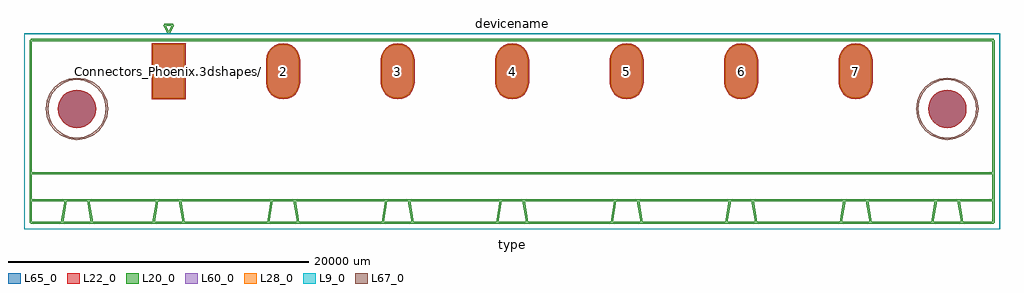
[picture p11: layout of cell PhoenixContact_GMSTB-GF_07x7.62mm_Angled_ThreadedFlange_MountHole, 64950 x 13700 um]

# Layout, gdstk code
import gdstk
lib = gdstk.Library(unit=1e-6, precision=1e-09)
def R(c, l, rs):  # rectangles x0, y0, x1, y1
    for r in rs: c.add(gdstk.rectangle(r[:2], r[2:], *l))
def P(c, l, *ps):  # polygons
    for p in ps: c.add(gdstk.Polygon(p, *l))
L9_0 = (9, 0)
L20_0 = (20, 0)
L22_0 = (22, 0)
L28_0 = (28, 0)
L60_0 = (60, 0)
L65_0 = (65, 0)
L67_0 = (67, 0)

phoenixcontact_gmstb_gf_ = lib.new_cell('PhoenixContact_GMSTB-GF_07x7.62mm_Angled_ThreadedFlange_MountHole')
R(phoenixcontact_gmstb_gf_, L22_0, [(-1125,-1875,1125,1875)])
P(phoenixcontact_gmstb_gf_, L22_0, [(53095,-2500),(53070.501,-2251.26),(52997.946,-2012.079),(52880.124,-1791.648),(52721.561,-1598.439),(52528.352,-1439.876),(52307.921,-1322.054),(52068.74,-1249.499),(51820,-1225),(51571.26,-1249.499),(51332.079,-1322.054),(51111.648,-1439.876),(50918.439,-1598.439),(50759.876,-1791.648),(50642.054,-2012.079),(50569.499,-2251.26),(50545,-2500),(50569.499,-2748.74),(50642.054,-2987.921),(50759.876,-3208.352),(50918.439,-3401.561),(51111.648,-3560.124),(51332.079,-3677.946),(51571.26,-3750.501),(51820,-3775),(52068.74,-3750.501),(52307.921,-3677.946),(52528.352,-3560.124),(52721.561,-3401.561),(52880.124,-3208.352),(52997.946,-2987.921),(53070.501,-2748.74)],
  [(-4825,-2500),(-4849.499,-2251.26),(-4922.054,-2012.079),(-5039.876,-1791.648),(-5198.439,-1598.439),(-5391.648,-1439.876),(-5612.079,-1322.054),(-5851.26,-1249.499),(-6100,-1225),(-6348.74,-1249.499),(-6587.921,-1322.054),(-6808.352,-1439.876),(-7001.561,-1598.439),(-7160.124,-1791.648),(-7277.946,-2012.079),(-7350.501,-2251.26),(-7375,-2500),(-7350.501,-2748.74),(-7277.946,-2987.921),(-7160.124,-3208.352),(-7001.561,-3401.561),(-6808.352,-3560.124),(-6587.921,-3677.946),(-6348.74,-3750.501),(-6100,-3775),(-5851.26,-3750.501),(-5612.079,-3677.946),(-5391.648,-3560.124),(-5198.439,-3401.561),(-5039.876,-3208.352),(-4922.054,-2987.921),(-4849.499,-2748.74)],
  [(45720,-1875),(46011.171,-1836.667),(46282.5,-1724.279),(46515.495,-1545.495),(46694.279,-1312.5),(46806.667,-1041.171),(46845,-750),(46845,750),(46806.667,1041.171),(46694.279,1312.5),(46515.495,1545.495),(46282.5,1724.279),(46011.171,1836.667),(45720,1875),(45428.829,1836.667),(45157.5,1724.279),(44924.505,1545.495),(44745.721,1312.5),(44633.333,1041.171),(44595,750),(44595,-750),(44633.333,-1041.171),(44745.721,-1312.5),(44924.505,-1545.495),(45157.5,-1724.279),(45428.829,-1836.667)],
  [(38100,-1875),(38391.171,-1836.667),(38662.5,-1724.279),(38895.495,-1545.495),(39074.279,-1312.5),(39186.667,-1041.171),(39225,-750),(39225,750),(39186.667,1041.171),(39074.279,1312.5),(38895.495,1545.495),(38662.5,1724.279),(38391.171,1836.667),(38100,1875),(37808.829,1836.667),(37537.5,1724.279),(37304.505,1545.495),(37125.721,1312.5),(37013.333,1041.171),(36975,750),(36975,-750),(37013.333,-1041.171),(37125.721,-1312.5),(37304.505,-1545.495),(37537.5,-1724.279),(37808.829,-1836.667)],
  [(30480,-1875),(30771.171,-1836.667),(31042.5,-1724.279),(31275.495,-1545.495),(31454.279,-1312.5),(31566.667,-1041.171),(31605,-750),(31605,750),(31566.667,1041.171),(31454.279,1312.5),(31275.495,1545.495),(31042.5,1724.279),(30771.171,1836.667),(30480,1875),(30188.829,1836.667),(29917.5,1724.279),(29684.505,1545.495),(29505.721,1312.5),(29393.333,1041.171),(29355,750),(29355,-750),(29393.333,-1041.171),(29505.721,-1312.5),(29684.505,-1545.495),(29917.5,-1724.279),(30188.829,-1836.667)],
  [(22860,-1875),(23151.171,-1836.667),(23422.5,-1724.279),(23655.495,-1545.495),(23834.279,-1312.5),(23946.667,-1041.171),(23985,-750),(23985,750),(23946.667,1041.171),(23834.279,1312.5),(23655.495,1545.495),(23422.5,1724.279),(23151.171,1836.667),(22860,1875),(22568.829,1836.667),(22297.5,1724.279),(22064.505,1545.495),(21885.721,1312.5),(21773.333,1041.171),(21735,750),(21735,-750),(21773.333,-1041.171),(21885.721,-1312.5),(22064.505,-1545.495),(22297.5,-1724.279),(22568.829,-1836.667)],
  [(15240,-1875),(15531.171,-1836.667),(15802.5,-1724.279),(16035.495,-1545.495),(16214.279,-1312.5),(16326.667,-1041.171),(16365,-750),(16365,750),(16326.667,1041.171),(16214.279,1312.5),(16035.495,1545.495),(15802.5,1724.279),(15531.171,1836.667),(15240,1875),(14948.829,1836.667),(14677.5,1724.279),(14444.505,1545.495),(14265.721,1312.5),(14153.333,1041.171),(14115,750),(14115,-750),(14153.333,-1041.171),(14265.721,-1312.5),(14444.505,-1545.495),(14677.5,-1724.279),(14948.829,-1836.667)],
  [(7620,-1875),(7911.171,-1836.667),(8182.5,-1724.279),(8415.495,-1545.495),(8594.279,-1312.5),(8706.667,-1041.171),(8745,-750),(8745,750),(8706.667,1041.171),(8594.279,1312.5),(8415.495,1545.495),(8182.5,1724.279),(7911.171,1836.667),(7620,1875),(7328.829,1836.667),(7057.5,1724.279),(6824.505,1545.495),(6645.721,1312.5),(6533.333,1041.171),(6495,750),(6495,-750),(6533.333,-1041.171),(6645.721,-1312.5),(6824.505,-1545.495),(7057.5,-1724.279),(7328.829,-1836.667)])
R(phoenixcontact_gmstb_gf_, L28_0, [(-1050,-1800,1050,1800)])
P(phoenixcontact_gmstb_gf_, L28_0, [(45720,-1800),(45991.76,-1764.222),(46245,-1659.327),(46462.462,-1492.462),(46629.327,-1275),(46734.222,-1021.76),(46770,-750),(46770,750),(46734.222,1021.76),(46629.327,1275),(46462.462,1492.462),(46245,1659.327),(45991.76,1764.222),(45720,1800),(45448.24,1764.222),(45195,1659.327),(44977.538,1492.462),(44810.673,1275),(44705.778,1021.76),(44670,750),(44670,-750),(44705.778,-1021.76),(44810.673,-1275),(44977.538,-1492.462),(45195,-1659.327),(45448.24,-1764.222)],
  [(38100,-1800),(38371.76,-1764.222),(38625,-1659.327),(38842.462,-1492.462),(39009.327,-1275),(39114.222,-1021.76),(39150,-750),(39150,750),(39114.222,1021.76),(39009.327,1275),(38842.462,1492.462),(38625,1659.327),(38371.76,1764.222),(38100,1800),(37828.24,1764.222),(37575,1659.327),(37357.538,1492.462),(37190.673,1275),(37085.778,1021.76),(37050,750),(37050,-750),(37085.778,-1021.76),(37190.673,-1275),(37357.538,-1492.462),(37575,-1659.327),(37828.24,-1764.222)],
  [(30480,-1800),(30751.76,-1764.222),(31005,-1659.327),(31222.462,-1492.462),(31389.327,-1275),(31494.222,-1021.76),(31530,-750),(31530,750),(31494.222,1021.76),(31389.327,1275),(31222.462,1492.462),(31005,1659.327),(30751.76,1764.222),(30480,1800),(30208.24,1764.222),(29955,1659.327),(29737.538,1492.462),(29570.673,1275),(29465.778,1021.76),(29430,750),(29430,-750),(29465.778,-1021.76),(29570.673,-1275),(29737.538,-1492.462),(29955,-1659.327),(30208.24,-1764.222)],
  [(22860,-1800),(23131.76,-1764.222),(23385,-1659.327),(23602.462,-1492.462),(23769.327,-1275),(23874.222,-1021.76),(23910,-750),(23910,750),(23874.222,1021.76),(23769.327,1275),(23602.462,1492.462),(23385,1659.327),(23131.76,1764.222),(22860,1800),(22588.24,1764.222),(22335,1659.327),(22117.538,1492.462),(21950.673,1275),(21845.778,1021.76),(21810,750),(21810,-750),(21845.778,-1021.76),(21950.673,-1275),(22117.538,-1492.462),(22335,-1659.327),(22588.24,-1764.222)],
  [(15240,-1800),(15511.76,-1764.222),(15765,-1659.327),(15982.462,-1492.462),(16149.327,-1275),(16254.222,-1021.76),(16290,-750),(16290,750),(16254.222,1021.76),(16149.327,1275),(15982.462,1492.462),(15765,1659.327),(15511.76,1764.222),(15240,1800),(14968.24,1764.222),(14715,1659.327),(14497.538,1492.462),(14330.673,1275),(14225.778,1021.76),(14190,750),(14190,-750),(14225.778,-1021.76),(14330.673,-1275),(14497.538,-1492.462),(14715,-1659.327),(14968.24,-1764.222)],
  [(7620,-1800),(7891.76,-1764.222),(8145,-1659.327),(8362.462,-1492.462),(8529.327,-1275),(8634.222,-1021.76),(8670,-750),(8670,750),(8634.222,1021.76),(8529.327,1275),(8362.462,1492.462),(8145,1659.327),(7891.76,1764.222),(7620,1800),(7348.24,1764.222),(7095,1659.327),(6877.538,1492.462),(6710.673,1275),(6605.778,1021.76),(6570,750),(6570,-750),(6605.778,-1021.76),(6710.673,-1275),(6877.538,-1492.462),(7095,-1659.327),(7348.24,-1764.222)])
R(phoenixcontact_gmstb_gf_, L60_0, [(-1050,-1800,1050,1800)])
P(phoenixcontact_gmstb_gf_, L60_0, [(45720,-1800),(45991.76,-1764.222),(46245,-1659.327),(46462.462,-1492.462),(46629.327,-1275),(46734.222,-1021.76),(46770,-750),(46770,750),(46734.222,1021.76),(46629.327,1275),(46462.462,1492.462),(46245,1659.327),(45991.76,1764.222),(45720,1800),(45448.24,1764.222),(45195,1659.327),(44977.538,1492.462),(44810.673,1275),(44705.778,1021.76),(44670,750),(44670,-750),(44705.778,-1021.76),(44810.673,-1275),(44977.538,-1492.462),(45195,-1659.327),(45448.24,-1764.222)],
  [(38100,-1800),(38371.76,-1764.222),(38625,-1659.327),(38842.462,-1492.462),(39009.327,-1275),(39114.222,-1021.76),(39150,-750),(39150,750),(39114.222,1021.76),(39009.327,1275),(38842.462,1492.462),(38625,1659.327),(38371.76,1764.222),(38100,1800),(37828.24,1764.222),(37575,1659.327),(37357.538,1492.462),(37190.673,1275),(37085.778,1021.76),(37050,750),(37050,-750),(37085.778,-1021.76),(37190.673,-1275),(37357.538,-1492.462),(37575,-1659.327),(37828.24,-1764.222)],
  [(30480,-1800),(30751.76,-1764.222),(31005,-1659.327),(31222.462,-1492.462),(31389.327,-1275),(31494.222,-1021.76),(31530,-750),(31530,750),(31494.222,1021.76),(31389.327,1275),(31222.462,1492.462),(31005,1659.327),(30751.76,1764.222),(30480,1800),(30208.24,1764.222),(29955,1659.327),(29737.538,1492.462),(29570.673,1275),(29465.778,1021.76),(29430,750),(29430,-750),(29465.778,-1021.76),(29570.673,-1275),(29737.538,-1492.462),(29955,-1659.327),(30208.24,-1764.222)],
  [(22860,-1800),(23131.76,-1764.222),(23385,-1659.327),(23602.462,-1492.462),(23769.327,-1275),(23874.222,-1021.76),(23910,-750),(23910,750),(23874.222,1021.76),(23769.327,1275),(23602.462,1492.462),(23385,1659.327),(23131.76,1764.222),(22860,1800),(22588.24,1764.222),(22335,1659.327),(22117.538,1492.462),(21950.673,1275),(21845.778,1021.76),(21810,750),(21810,-750),(21845.778,-1021.76),(21950.673,-1275),(22117.538,-1492.462),(22335,-1659.327),(22588.24,-1764.222)],
  [(15240,-1800),(15511.76,-1764.222),(15765,-1659.327),(15982.462,-1492.462),(16149.327,-1275),(16254.222,-1021.76),(16290,-750),(16290,750),(16254.222,1021.76),(16149.327,1275),(15982.462,1492.462),(15765,1659.327),(15511.76,1764.222),(15240,1800),(14968.24,1764.222),(14715,1659.327),(14497.538,1492.462),(14330.673,1275),(14225.778,1021.76),(14190,750),(14190,-750),(14225.778,-1021.76),(14330.673,-1275),(14497.538,-1492.462),(14715,-1659.327),(14968.24,-1764.222)],
  [(7620,-1800),(7891.76,-1764.222),(8145,-1659.327),(8362.462,-1492.462),(8529.327,-1275),(8634.222,-1021.76),(8670,-750),(8670,750),(8634.222,1021.76),(8529.327,1275),(8362.462,1492.462),(8145,1659.327),(7891.76,1764.222),(7620,1800),(7348.24,1764.222),(7095,1659.327),(6877.538,1492.462),(6710.673,1275),(6605.778,1021.76),(6570,750),(6570,-750),(6605.778,-1021.76),(6710.673,-1275),(6877.538,-1492.462),(7095,-1659.327),(7348.24,-1764.222)])
R(phoenixcontact_gmstb_gf_, L65_0, [(-1125,-1875,1125,1875)])
P(phoenixcontact_gmstb_gf_, L65_0, [(53095,-2500),(53070.501,-2251.26),(52997.946,-2012.079),(52880.124,-1791.648),(52721.561,-1598.439),(52528.352,-1439.876),(52307.921,-1322.054),(52068.74,-1249.499),(51820,-1225),(51571.26,-1249.499),(51332.079,-1322.054),(51111.648,-1439.876),(50918.439,-1598.439),(50759.876,-1791.648),(50642.054,-2012.079),(50569.499,-2251.26),(50545,-2500),(50569.499,-2748.74),(50642.054,-2987.921),(50759.876,-3208.352),(50918.439,-3401.561),(51111.648,-3560.124),(51332.079,-3677.946),(51571.26,-3750.501),(51820,-3775),(52068.74,-3750.501),(52307.921,-3677.946),(52528.352,-3560.124),(52721.561,-3401.561),(52880.124,-3208.352),(52997.946,-2987.921),(53070.501,-2748.74)],
  [(-4825,-2500),(-4849.499,-2251.26),(-4922.054,-2012.079),(-5039.876,-1791.648),(-5198.439,-1598.439),(-5391.648,-1439.876),(-5612.079,-1322.054),(-5851.26,-1249.499),(-6100,-1225),(-6348.74,-1249.499),(-6587.921,-1322.054),(-6808.352,-1439.876),(-7001.561,-1598.439),(-7160.124,-1791.648),(-7277.946,-2012.079),(-7350.501,-2251.26),(-7375,-2500),(-7350.501,-2748.74),(-7277.946,-2987.921),(-7160.124,-3208.352),(-7001.561,-3401.561),(-6808.352,-3560.124),(-6587.921,-3677.946),(-6348.74,-3750.501),(-6100,-3775),(-5851.26,-3750.501),(-5612.079,-3677.946),(-5391.648,-3560.124),(-5198.439,-3401.561),(-5039.876,-3208.352),(-4922.054,-2987.921),(-4849.499,-2748.74)],
  [(45720,-1875),(46011.171,-1836.667),(46282.5,-1724.279),(46515.495,-1545.495),(46694.279,-1312.5),(46806.667,-1041.171),(46845,-750),(46845,750),(46806.667,1041.171),(46694.279,1312.5),(46515.495,1545.495),(46282.5,1724.279),(46011.171,1836.667),(45720,1875),(45428.829,1836.667),(45157.5,1724.279),(44924.505,1545.495),(44745.721,1312.5),(44633.333,1041.171),(44595,750),(44595,-750),(44633.333,-1041.171),(44745.721,-1312.5),(44924.505,-1545.495),(45157.5,-1724.279),(45428.829,-1836.667)],
  [(38100,-1875),(38391.171,-1836.667),(38662.5,-1724.279),(38895.495,-1545.495),(39074.279,-1312.5),(39186.667,-1041.171),(39225,-750),(39225,750),(39186.667,1041.171),(39074.279,1312.5),(38895.495,1545.495),(38662.5,1724.279),(38391.171,1836.667),(38100,1875),(37808.829,1836.667),(37537.5,1724.279),(37304.505,1545.495),(37125.721,1312.5),(37013.333,1041.171),(36975,750),(36975,-750),(37013.333,-1041.171),(37125.721,-1312.5),(37304.505,-1545.495),(37537.5,-1724.279),(37808.829,-1836.667)],
  [(30480,-1875),(30771.171,-1836.667),(31042.5,-1724.279),(31275.495,-1545.495),(31454.279,-1312.5),(31566.667,-1041.171),(31605,-750),(31605,750),(31566.667,1041.171),(31454.279,1312.5),(31275.495,1545.495),(31042.5,1724.279),(30771.171,1836.667),(30480,1875),(30188.829,1836.667),(29917.5,1724.279),(29684.505,1545.495),(29505.721,1312.5),(29393.333,1041.171),(29355,750),(29355,-750),(29393.333,-1041.171),(29505.721,-1312.5),(29684.505,-1545.495),(29917.5,-1724.279),(30188.829,-1836.667)],
  [(22860,-1875),(23151.171,-1836.667),(23422.5,-1724.279),(23655.495,-1545.495),(23834.279,-1312.5),(23946.667,-1041.171),(23985,-750),(23985,750),(23946.667,1041.171),(23834.279,1312.5),(23655.495,1545.495),(23422.5,1724.279),(23151.171,1836.667),(22860,1875),(22568.829,1836.667),(22297.5,1724.279),(22064.505,1545.495),(21885.721,1312.5),(21773.333,1041.171),(21735,750),(21735,-750),(21773.333,-1041.171),(21885.721,-1312.5),(22064.505,-1545.495),(22297.5,-1724.279),(22568.829,-1836.667)],
  [(15240,-1875),(15531.171,-1836.667),(15802.5,-1724.279),(16035.495,-1545.495),(16214.279,-1312.5),(16326.667,-1041.171),(16365,-750),(16365,750),(16326.667,1041.171),(16214.279,1312.5),(16035.495,1545.495),(15802.5,1724.279),(15531.171,1836.667),(15240,1875),(14948.829,1836.667),(14677.5,1724.279),(14444.505,1545.495),(14265.721,1312.5),(14153.333,1041.171),(14115,750),(14115,-750),(14153.333,-1041.171),(14265.721,-1312.5),(14444.505,-1545.495),(14677.5,-1724.279),(14948.829,-1836.667)],
  [(7620,-1875),(7911.171,-1836.667),(8182.5,-1724.279),(8415.495,-1545.495),(8594.279,-1312.5),(8706.667,-1041.171),(8745,-750),(8745,750),(8706.667,1041.171),(8594.279,1312.5),(8415.495,1545.495),(8182.5,1724.279),(7911.171,1836.667),(7620,1875),(7328.829,1836.667),(7057.5,1724.279),(6824.505,1545.495),(6645.721,1312.5),(6533.333,1041.171),(6495,750),(6495,-750),(6533.333,-1041.171),(6645.721,-1312.5),(6824.505,-1545.495),(7057.5,-1724.279),(7328.829,-1836.667)])
phoenixcontact_gmstb_gf_.add(gdstk.FlexPath([(-300,3100),(0,2500)], 149.998, ends="flush", simple_path=True, layer=20, datatype=0))  # L20_0
phoenixcontact_gmstb_gf_.add(gdstk.FlexPath([(300,3100),(-300,3100)], 149.998, ends="flush", simple_path=True, layer=20, datatype=0))  # L20_0
phoenixcontact_gmstb_gf_.add(gdstk.FlexPath([(0,2500),(300,3100)], 149.998, ends="flush", simple_path=True, layer=20, datatype=0))  # L20_0
phoenixcontact_gmstb_gf_.add(gdstk.FlexPath([(55300,2500),(-9600,2500)], 50, ends="flush", simple_path=True, layer=9, datatype=0))  # L9_0
phoenixcontact_gmstb_gf_.add(gdstk.FlexPath([(55300,-10500),(55300,2500)], 50, ends="flush", simple_path=True, layer=9, datatype=0))  # L9_0
phoenixcontact_gmstb_gf_.add(gdstk.FlexPath([(-9600,-10500),(55300,-10500)], 50, ends="flush", simple_path=True, layer=9, datatype=0))  # L9_0
phoenixcontact_gmstb_gf_.add(gdstk.FlexPath([(-9600,2500),(-9600,-10500)], 50, ends="flush", simple_path=True, layer=9, datatype=0))  # L9_0
phoenixcontact_gmstb_gf_.add(gdstk.FlexPath([(44970,-8580),(44720,-10080)], 149.998, ends="flush", simple_path=True, layer=20, datatype=0))  # L20_0
phoenixcontact_gmstb_gf_.add(gdstk.FlexPath([(46470,-8580),(44970,-8580)], 149.998, ends="flush", simple_path=True, layer=20, datatype=0))  # L20_0
phoenixcontact_gmstb_gf_.add(gdstk.FlexPath([(46720,-10080),(46470,-8580)], 149.998, ends="flush", simple_path=True, layer=20, datatype=0))  # L20_0
phoenixcontact_gmstb_gf_.add(gdstk.FlexPath([(44720,-10080),(46720,-10080)], 149.998, ends="flush", simple_path=True, layer=20, datatype=0))  # L20_0
phoenixcontact_gmstb_gf_.add(gdstk.FlexPath([(37350,-8580),(37100,-10080)], 149.998, ends="flush", simple_path=True, layer=20, datatype=0))  # L20_0
phoenixcontact_gmstb_gf_.add(gdstk.FlexPath([(38850,-8580),(37350,-8580)], 149.998, ends="flush", simple_path=True, layer=20, datatype=0))  # L20_0
phoenixcontact_gmstb_gf_.add(gdstk.FlexPath([(39100,-10080),(38850,-8580)], 149.998, ends="flush", simple_path=True, layer=20, datatype=0))  # L20_0
phoenixcontact_gmstb_gf_.add(gdstk.FlexPath([(37100,-10080),(39100,-10080)], 149.998, ends="flush", simple_path=True, layer=20, datatype=0))  # L20_0
phoenixcontact_gmstb_gf_.add(gdstk.FlexPath([(29730,-8580),(29480,-10080)], 149.998, ends="flush", simple_path=True, layer=20, datatype=0))  # L20_0
phoenixcontact_gmstb_gf_.add(gdstk.FlexPath([(31230,-8580),(29730,-8580)], 149.998, ends="flush", simple_path=True, layer=20, datatype=0))  # L20_0
phoenixcontact_gmstb_gf_.add(gdstk.FlexPath([(31480,-10080),(31230,-8580)], 149.998, ends="flush", simple_path=True, layer=20, datatype=0))  # L20_0
phoenixcontact_gmstb_gf_.add(gdstk.FlexPath([(29480,-10080),(31480,-10080)], 149.998, ends="flush", simple_path=True, layer=20, datatype=0))  # L20_0
phoenixcontact_gmstb_gf_.add(gdstk.FlexPath([(22110,-8580),(21860,-10080)], 149.998, ends="flush", simple_path=True, layer=20, datatype=0))  # L20_0
phoenixcontact_gmstb_gf_.add(gdstk.FlexPath([(23610,-8580),(22110,-8580)], 149.998, ends="flush", simple_path=True, layer=20, datatype=0))  # L20_0
phoenixcontact_gmstb_gf_.add(gdstk.FlexPath([(23860,-10080),(23610,-8580)], 149.998, ends="flush", simple_path=True, layer=20, datatype=0))  # L20_0
phoenixcontact_gmstb_gf_.add(gdstk.FlexPath([(21860,-10080),(23860,-10080)], 149.998, ends="flush", simple_path=True, layer=20, datatype=0))  # L20_0
phoenixcontact_gmstb_gf_.add(gdstk.FlexPath([(14490,-8580),(14240,-10080)], 149.998, ends="flush", simple_path=True, layer=20, datatype=0))  # L20_0
phoenixcontact_gmstb_gf_.add(gdstk.FlexPath([(15990,-8580),(14490,-8580)], 149.998, ends="flush", simple_path=True, layer=20, datatype=0))  # L20_0
phoenixcontact_gmstb_gf_.add(gdstk.FlexPath([(16240,-10080),(15990,-8580)], 149.998, ends="flush", simple_path=True, layer=20, datatype=0))  # L20_0
phoenixcontact_gmstb_gf_.add(gdstk.FlexPath([(14240,-10080),(16240,-10080)], 149.998, ends="flush", simple_path=True, layer=20, datatype=0))  # L20_0
phoenixcontact_gmstb_gf_.add(gdstk.FlexPath([(6870,-8580),(6620,-10080)], 149.998, ends="flush", simple_path=True, layer=20, datatype=0))  # L20_0
phoenixcontact_gmstb_gf_.add(gdstk.FlexPath([(8370,-8580),(6870,-8580)], 149.998, ends="flush", simple_path=True, layer=20, datatype=0))  # L20_0
phoenixcontact_gmstb_gf_.add(gdstk.FlexPath([(8620,-10080),(8370,-8580)], 149.998, ends="flush", simple_path=True, layer=20, datatype=0))  # L20_0
phoenixcontact_gmstb_gf_.add(gdstk.FlexPath([(6620,-10080),(8620,-10080)], 149.998, ends="flush", simple_path=True, layer=20, datatype=0))  # L20_0
phoenixcontact_gmstb_gf_.add(gdstk.FlexPath([(-750,-8580),(-1000,-10080)], 149.998, ends="flush", simple_path=True, layer=20, datatype=0))  # L20_0
phoenixcontact_gmstb_gf_.add(gdstk.FlexPath([(750,-8580),(-750,-8580)], 149.998, ends="flush", simple_path=True, layer=20, datatype=0))  # L20_0
phoenixcontact_gmstb_gf_.add(gdstk.FlexPath([(1000,-10080),(750,-8580)], 149.998, ends="flush", simple_path=True, layer=20, datatype=0))  # L20_0
phoenixcontact_gmstb_gf_.add(gdstk.FlexPath([(-1000,-10080),(1000,-10080)], 149.998, ends="flush", simple_path=True, layer=20, datatype=0))  # L20_0
phoenixcontact_gmstb_gf_.add(gdstk.FlexPath([(51070,-8580),(50820,-10080)], 149.998, ends="flush", simple_path=True, layer=20, datatype=0))  # L20_0
phoenixcontact_gmstb_gf_.add(gdstk.FlexPath([(52570,-8580),(51070,-8580)], 149.998, ends="flush", simple_path=True, layer=20, datatype=0))  # L20_0
phoenixcontact_gmstb_gf_.add(gdstk.FlexPath([(52820,-10080),(52570,-8580)], 149.998, ends="flush", simple_path=True, layer=20, datatype=0))  # L20_0
phoenixcontact_gmstb_gf_.add(gdstk.FlexPath([(50820,-10080),(52820,-10080)], 149.998, ends="flush", simple_path=True, layer=20, datatype=0))  # L20_0
phoenixcontact_gmstb_gf_.add(gdstk.FlexPath([(-6850,-8580),(-7100,-10080)], 149.998, ends="flush", simple_path=True, layer=20, datatype=0))  # L20_0
phoenixcontact_gmstb_gf_.add(gdstk.FlexPath([(-5350,-8580),(-6850,-8580)], 149.998, ends="flush", simple_path=True, layer=20, datatype=0))  # L20_0
phoenixcontact_gmstb_gf_.add(gdstk.FlexPath([(-5100,-10080),(-5350,-8580)], 149.998, ends="flush", simple_path=True, layer=20, datatype=0))  # L20_0
phoenixcontact_gmstb_gf_.add(gdstk.FlexPath([(-7100,-10080),(-5100,-10080)], 149.998, ends="flush", simple_path=True, layer=20, datatype=0))  # L20_0
phoenixcontact_gmstb_gf_.add(gdstk.FlexPath([(54900,-8580),(-9180,-8580)], 149.998, ends="flush", simple_path=True, layer=20, datatype=0))  # L20_0
phoenixcontact_gmstb_gf_.add(gdstk.FlexPath([(54900,-6780),(54900,-8580)], 149.998, ends="flush", simple_path=True, layer=20, datatype=0))  # L20_0
phoenixcontact_gmstb_gf_.add(gdstk.FlexPath([(-9180,-6780),(54900,-6780)], 149.998, ends="flush", simple_path=True, layer=20, datatype=0))  # L20_0
phoenixcontact_gmstb_gf_.add(gdstk.FlexPath([(-9180,-8580),(-9180,-6780)], 149.998, ends="flush", simple_path=True, layer=20, datatype=0))  # L20_0
phoenixcontact_gmstb_gf_.add(gdstk.FlexPath([(54900,2080),(-9180,2080)], 149.998, ends="flush", simple_path=True, layer=20, datatype=0))  # L20_0
phoenixcontact_gmstb_gf_.add(gdstk.FlexPath([(54900,-10080),(54900,2080)], 149.998, ends="flush", simple_path=True, layer=20, datatype=0))  # L20_0
phoenixcontact_gmstb_gf_.add(gdstk.FlexPath([(-9180,-10080),(54900,-10080)], 149.998, ends="flush", simple_path=True, layer=20, datatype=0))  # L20_0
phoenixcontact_gmstb_gf_.add(gdstk.FlexPath([(-9180,2080),(-9180,-10080)], 149.998, ends="flush", simple_path=True, layer=20, datatype=0))  # L20_0
phoenixcontact_gmstb_gf_.add(gdstk.FlexPath([(53820,-2500),(53751.852,-1982.362),(53552.051,-1500),(53234.214,-1085.786),(52820,-767.949),(52337.638,-568.148),(51820,-500),(51302.362,-568.148),(50820,-767.949),(50405.786,-1085.786),(50087.949,-1500),(49888.148,-1982.362),(49820,-2500),(49888.148,-3017.638),(50087.949,-3500),(50405.786,-3914.214),(50820,-4232.051),(51302.362,-4431.852),(51820,-4500),(52337.638,-4431.852),(52820,-4232.051),(53234.214,-3914.214),(53552.051,-3500),(53751.852,-3017.638),(53820,-2500)], 149.998, ends="flush", simple_path=True, layer=67, datatype=0))  # L67_0
phoenixcontact_gmstb_gf_.add(gdstk.FlexPath([(-4100,-2500),(-4168.148,-1982.362),(-4367.949,-1500),(-4685.786,-1085.786),(-5100,-767.949),(-5582.362,-568.148),(-6100,-500),(-6617.638,-568.148),(-7100,-767.949),(-7514.214,-1085.786),(-7832.051,-1500),(-8031.852,-1982.362),(-8100,-2500),(-8031.852,-3017.638),(-7832.051,-3500),(-7514.214,-3914.214),(-7100,-4232.051),(-6617.638,-4431.852),(-6100,-4500),(-5582.362,-4431.852),(-5100,-4232.051),(-4685.786,-3914.214),(-4367.949,-3500),(-4168.148,-3017.638),(-4100,-2500)], 149.998, ends="flush", simple_path=True, layer=67, datatype=0))  # L67_0
phoenixcontact_gmstb_gf_.add(gdstk.Label('Connectors_Phoenix.3dshapes/PhoenixContact_GMSTB-GF_07x7.62mm_Angled_ThreadedFlange_MountHole.wrl', (0,0), layer=12, texttype=0))
phoenixcontact_gmstb_gf_.add(gdstk.Label('7', (45720,0), layer=28, texttype=0))
phoenixcontact_gmstb_gf_.add(gdstk.Label('6', (38100,0), layer=28, texttype=0))
phoenixcontact_gmstb_gf_.add(gdstk.Label('5', (30480,0), layer=28, texttype=0))
phoenixcontact_gmstb_gf_.add(gdstk.Label('4', (22860,0), layer=28, texttype=0))
phoenixcontact_gmstb_gf_.add(gdstk.Label('3', (15240,0), layer=28, texttype=0))
phoenixcontact_gmstb_gf_.add(gdstk.Label('2', (7620,0), layer=28, texttype=0))
phoenixcontact_gmstb_gf_.add(gdstk.Label('1', (0,0), layer=28, texttype=0))
phoenixcontact_gmstb_gf_.add(gdstk.Label('type', (22860,-11500), layer=9, texttype=0))
phoenixcontact_gmstb_gf_.add(gdstk.Label('devicename', (22860,3200), layer=9, texttype=0))

lib.write_gds('PhoenixContact_GMSTB-GF_07x7.62mm_Angled_ThreadedFlange_MountHole.gds')
